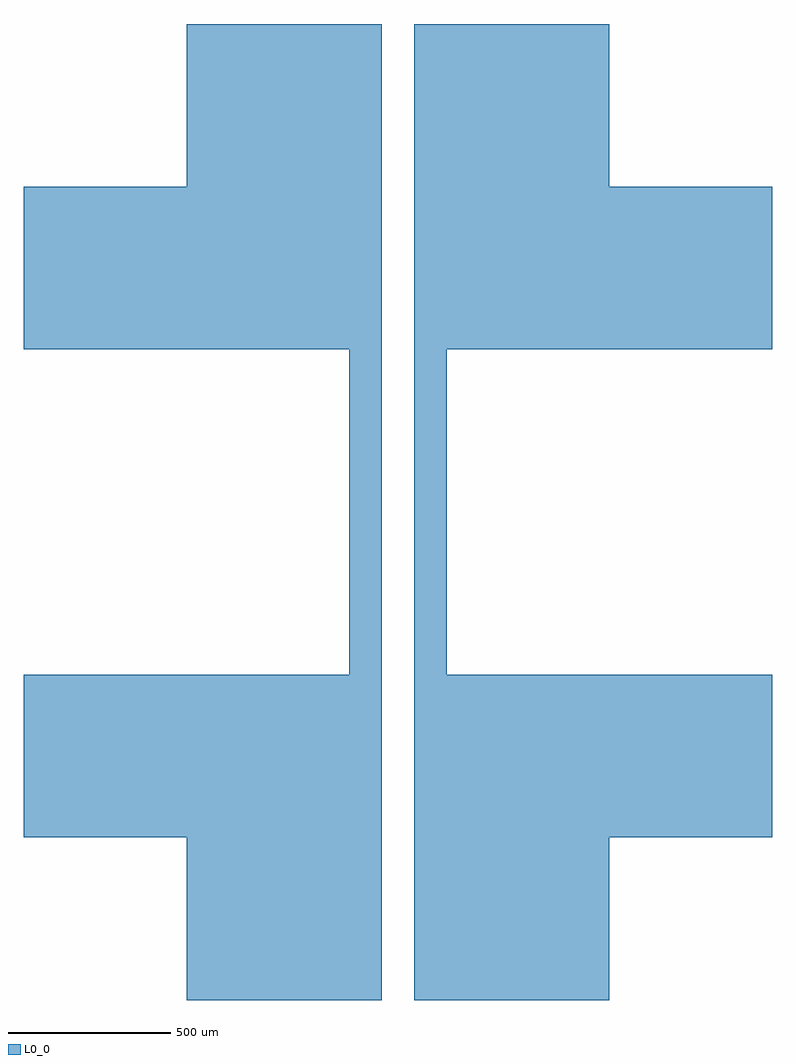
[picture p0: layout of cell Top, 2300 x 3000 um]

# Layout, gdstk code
import gdstk
lib = gdstk.Library(unit=1e-6, precision=1e-09)
def R(c, l, rs):  # rectangles x0, y0, x1, y1
    for r in rs: c.add(gdstk.rectangle(r[:2], r[2:], *l))
def P(c, l, *ps):  # polygons
    for p in ps: c.add(gdstk.Polygon(p, *l))
L0_0 = (0, 0)

top = lib.new_cell('Top')
R(top, L0_0, [(-150,-1500,-50,1500), (50,-1500,150,1500)])
P(top, L0_0, [(-150,500),(-1150,500),(-1150,1000),(-650,1000),(-650,1500),(-150,1500)],
  [(-150,-500),(-1150,-500),(-1150,-1000),(-650,-1000),(-650,-1500),(-150,-1500)],
  [(150,500),(1150,500),(1150,1000),(650,1000),(650,1500),(150,1500)],
  [(150,-500),(1150,-500),(1150,-1000),(650,-1000),(650,-1500),(150,-1500)])

lib.write_gds('Top.gds')
